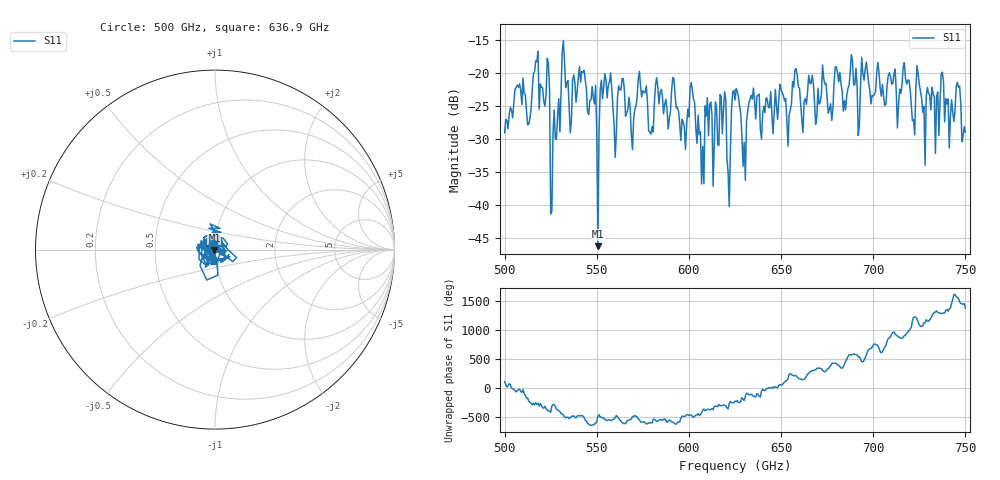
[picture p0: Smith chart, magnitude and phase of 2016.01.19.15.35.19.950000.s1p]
!Created with skrf (http://scikit-rf.org).
# GHz S RI R 50.0
!freq ReS11 ImS11
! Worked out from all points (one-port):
!   401 points, 500 GHz to 750 GHz, reference 50 ohm
!   lowest |S11| = -46.2 dB at 550.6 GHz (marker M1), VSWR 1.01, Z = 49.7 - j0.371 ohm
!   |S11| at or under -10 dB: start of sweep to end of sweep
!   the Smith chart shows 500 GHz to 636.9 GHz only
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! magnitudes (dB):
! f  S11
! 500 GHz  -29.1
! 506.9 GHz  -21.9
! 513.1 GHz  -27.8
! 516.9 GHz  -18.2
! 523.1 GHz  -17.8
! 526.2 GHz  -29.3
! 531.2 GHz  -16.9
! 541.9 GHz  -19.8
! 550.6 GHz  -46.2
! 553.1 GHz  -23.9
! 560 GHz  -32.8
! 562.5 GHz  -22.6
! 579.4 GHz  -29.3
! 583.1 GHz  -22.1
! 593.8 GHz  -25.2
! 601.9 GHz  -22.7
! 606.9 GHz  -36.8
! 618.8 GHz  -25.6
! 621.9 GHz  -40.2
! 625 GHz  -24.1
! 630 GHz  -30.5
! 633.8 GHz  -23.4
! 656.2 GHz  -21.3
! 676.9 GHz  -24.7
! 687.5 GHz  -20.0
! 718.8 GHz  -21.1
! 746.2 GHz  -22.2
! 750 GHz  -29.0
